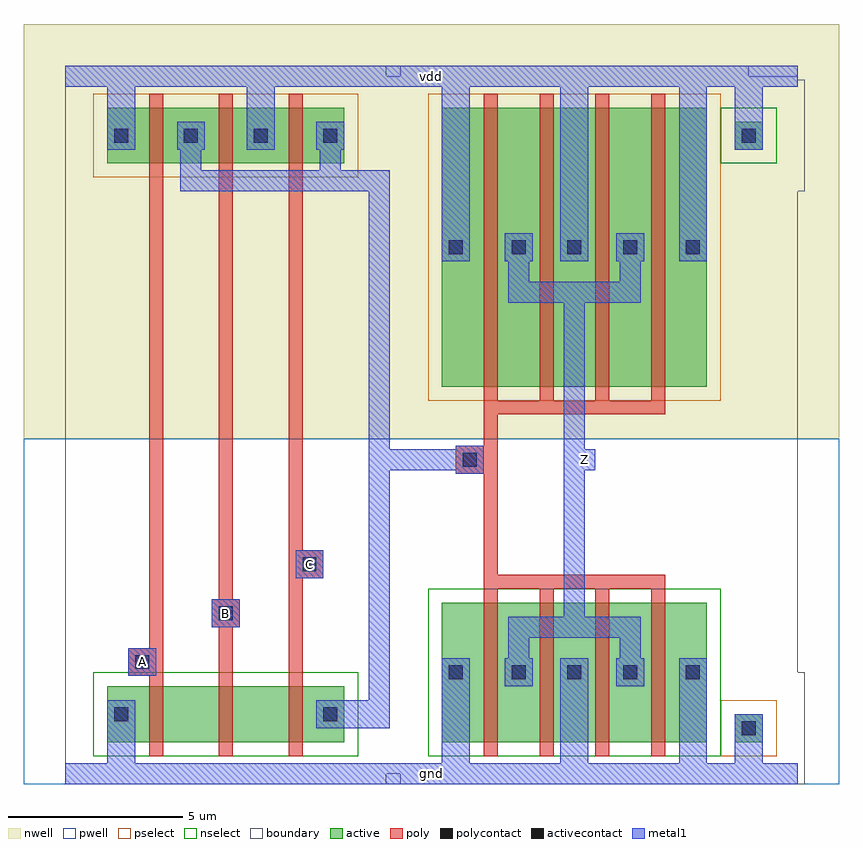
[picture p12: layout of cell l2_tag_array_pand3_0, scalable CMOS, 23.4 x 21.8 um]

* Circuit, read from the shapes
.subckt l2_tag_array_pand3_0 A B C Z gnd vdd
M1 l2_tag_array_pnand3_0_0/l2_tag_array_nmos_m1_w1_600_sm1_dactive_3/D A gnd gnd nfet w=1.6u l=0.4u
M2 l2_tag_array_pnand3_0_0/l2_tag_array_nmos_m1_w1_600_sactive_dactive_4/D B l2_tag_array_pnand3_0_0/l2_tag_array_nmos_m1_w1_600_sm1_dactive_3/D gnd nfet w=1.6u l=0.4u
M3 l2_tag_array_pdriver_3_1/A C l2_tag_array_pnand3_0_0/l2_tag_array_nmos_m1_w1_600_sactive_dactive_4/D gnd nfet w=1.6u l=0.4u
M4 Z l2_tag_array_pdriver_3_1/A gnd gnd nfet w=4u l=0.4u m=4
M5 l2_tag_array_pdriver_3_1/A A vdd vdd pfet w=1.6u l=0.4u
M6 vdd B l2_tag_array_pdriver_3_1/A vdd pfet w=1.6u l=0.4u
M7 l2_tag_array_pdriver_3_1/A C vdd vdd pfet w=1.6u l=0.4u
M8 Z l2_tag_array_pdriver_3_1/A vdd vdd pfet w=8u l=0.4u m=4
.ends

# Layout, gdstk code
import gdstk
lib = gdstk.Library(unit=1e-6, precision=1e-09)
def R(c, l, rs):  # rectangles x0, y0, x1, y1
    for r in rs: c.add(gdstk.rectangle(r[:2], r[2:], *l))
def A(c, l, x, y, w, h, nx, ny, dx, dy):  # array of equal rectangles
    R(c, l, [(x+i*dx, y+j*dy, x+i*dx+w, y+j*dy+h) for i in range(nx) for j in range(ny)])
pwell = (41, 0)
nwell = (42, 0)
active = (43, 0)
pselect = (44, 0)
nselect = (45, 0)
poly = (46, 0)
polycontact = (47, 0)
activecontact = (48, 0)
metal1 = (49, 0)
boundary = (63, 0)

l2_tag_array_contact_11 = lib.new_cell('l2_tag_array_contact_11')
R(l2_tag_array_contact_11, nwell, [(-1.2,-1.2,2,2)])
R(l2_tag_array_contact_11, active, [(0,0,0.8,0.8)])
R(l2_tag_array_contact_11, pselect, [(-0.4,-0.4,1.2,1.2)])
R(l2_tag_array_contact_11, activecontact, [(0.2,0.2,0.6,0.6)])
R(l2_tag_array_contact_11, metal1, [(0,0,0.8,0.8)])
R(l2_tag_array_contact_11, boundary, [(-1.2,-1.2,2,2)])

l2_tag_array_pmos_m1_w1_ = lib.new_cell('l2_tag_array_pmos_m1_w1_600_sm1_dm1')
R(l2_tag_array_pmos_m1_w1_, nwell, [(-1.2,-1.2,4,2.8)])
R(l2_tag_array_pmos_m1_w1_, active, [(0,0,2.8,1.6)])
R(l2_tag_array_pmos_m1_w1_, pselect, [(-0.4,-0.4,3.2,2)])
R(l2_tag_array_pmos_m1_w1_, poly, [(1.2,-0.4,1.6,2), (1.2,-0.4,1.6,2)])
R(l2_tag_array_pmos_m1_w1_, metal1, [(0,0.4,0.8,1.2), (2,0.4,2.8,1.2)])
R(l2_tag_array_pmos_m1_w1_, boundary, [(-1.2,-1.2,4,2.8)])
l2_tag_array_pmos_m1_w1_.add(gdstk.Reference(l2_tag_array_contact_11, (0,0.4)))
l2_tag_array_pmos_m1_w1_.add(gdstk.Reference(l2_tag_array_contact_11, (2,0.4)))
l2_tag_array_pmos_m1_w1_.add(gdstk.Label('G', (1.4,0.8), layer=46, texttype=0))
l2_tag_array_pmos_m1_w1_.add(gdstk.Label('S', (0.4,0.8), layer=49, texttype=0))
l2_tag_array_pmos_m1_w1_.add(gdstk.Label('D', (2.4,0.8), layer=49, texttype=0))

l2_tag_array_contact_10 = lib.new_cell('l2_tag_array_contact_10')
R(l2_tag_array_contact_10, pwell, [(-1.2,-1.2,2,2)])
R(l2_tag_array_contact_10, active, [(0,0,0.8,0.8)])
R(l2_tag_array_contact_10, nselect, [(-0.4,-0.4,1.2,1.2)])
R(l2_tag_array_contact_10, activecontact, [(0.2,0.2,0.6,0.6)])
R(l2_tag_array_contact_10, metal1, [(0,0,0.8,0.8)])
R(l2_tag_array_contact_10, boundary, [(-1.2,-1.2,2,2)])

l2_tag_array_nmos_m1_w1_ = lib.new_cell('l2_tag_array_nmos_m1_w1_600_sm1_dactive')
R(l2_tag_array_nmos_m1_w1_, pwell, [(-1.2,-1.2,4,2.8)])
R(l2_tag_array_nmos_m1_w1_, active, [(0,0,2.8,1.6), (2.1,0.5,2.7,1.1)])
R(l2_tag_array_nmos_m1_w1_, nselect, [(-0.4,-0.4,3.2,2)])
R(l2_tag_array_nmos_m1_w1_, poly, [(1.2,-0.4,1.6,2), (1.2,-0.4,1.6,2)])
R(l2_tag_array_nmos_m1_w1_, metal1, [(0,0.4,0.8,1.2)])
R(l2_tag_array_nmos_m1_w1_, boundary, [(-1.2,-1.2,4,2.8)])
l2_tag_array_nmos_m1_w1_.add(gdstk.Reference(l2_tag_array_contact_10, (0,0.4)))
l2_tag_array_nmos_m1_w1_.add(gdstk.Label('G', (1.4,0.8), layer=46, texttype=0))
l2_tag_array_nmos_m1_w1_.add(gdstk.Label('S', (0.4,0.8), layer=49, texttype=0))
l2_tag_array_nmos_m1_w1_.add(gdstk.Label('D', (2.4,0.8), layer=43, texttype=0))

c_l2_tag_array_nmos_m1_w1_ = lib.new_cell('l2_tag_array_nmos_m1_w1_600_sactive_dactive')
R(c_l2_tag_array_nmos_m1_w1_, pwell, [(-1.2,-1.2,4,2.8)])
R(c_l2_tag_array_nmos_m1_w1_, active, [(0,0,2.8,1.6), (0.1,0.5,0.7,1.1), (2.1,0.5,2.7,1.1)])
R(c_l2_tag_array_nmos_m1_w1_, nselect, [(-0.4,-0.4,3.2,2)])
R(c_l2_tag_array_nmos_m1_w1_, poly, [(1.2,-0.4,1.6,2), (1.2,-0.4,1.6,2)])
R(c_l2_tag_array_nmos_m1_w1_, boundary, [(-1.2,-1.2,4,2.8)])
c_l2_tag_array_nmos_m1_w1_.add(gdstk.Label('G', (1.4,0.8), layer=46, texttype=0))
c_l2_tag_array_nmos_m1_w1_.add(gdstk.Label('S', (0.4,0.8), layer=43, texttype=0))
c_l2_tag_array_nmos_m1_w1_.add(gdstk.Label('D', (2.4,0.8), layer=43, texttype=0))

c_l2_tag_array_nmos_m1_w1__ = lib.new_cell('l2_tag_array_nmos_m1_w1_600_sactive_dm1')
R(c_l2_tag_array_nmos_m1_w1__, pwell, [(-1.2,-1.2,4,2.8)])
R(c_l2_tag_array_nmos_m1_w1__, active, [(0,0,2.8,1.6), (0.1,0.5,0.7,1.1)])
R(c_l2_tag_array_nmos_m1_w1__, nselect, [(-0.4,-0.4,3.2,2)])
R(c_l2_tag_array_nmos_m1_w1__, poly, [(1.2,-0.4,1.6,2), (1.2,-0.4,1.6,2)])
R(c_l2_tag_array_nmos_m1_w1__, metal1, [(2,0.4,2.8,1.2)])
R(c_l2_tag_array_nmos_m1_w1__, boundary, [(-1.2,-1.2,4,2.8)])
c_l2_tag_array_nmos_m1_w1__.add(gdstk.Reference(l2_tag_array_contact_10, (2,0.4)))
c_l2_tag_array_nmos_m1_w1__.add(gdstk.Label('G', (1.4,0.8), layer=46, texttype=0))
c_l2_tag_array_nmos_m1_w1__.add(gdstk.Label('S', (0.4,0.8), layer=43, texttype=0))
c_l2_tag_array_nmos_m1_w1__.add(gdstk.Label('D', (2.4,0.8), layer=49, texttype=0))

l2_tag_array_contact_14 = lib.new_cell('l2_tag_array_contact_14')
R(l2_tag_array_contact_14, poly, [(0,0,0.8,0.8)])
R(l2_tag_array_contact_14, polycontact, [(0.2,0.2,0.6,0.6)])
R(l2_tag_array_contact_14, metal1, [(0,0,0.8,0.8)])
R(l2_tag_array_contact_14, boundary, [(0,0,0.8,0.8)])

l2_tag_array_pnand3_0 = lib.new_cell('l2_tag_array_pnand3_0')
R(l2_tag_array_pnand3_0, pwell, [(-1.2,-0.3,10.8,9.6)])
R(l2_tag_array_pnand3_0, nwell, [(-1.2,9.6,10.8,21.5)])
A(l2_tag_array_pnand3_0, poly, 2.4, 2.9, 0.4, 14.2, 3, 1, 2, 0)
R(l2_tag_array_pnand3_0, poly, [(2.2,2.8,2.4,3.6), (4.4,4.2,4.6,5), (6.4,5.6,7,6.4)])
R(l2_tag_array_pnand3_0, metal1, [(0,-0.3,9.6,0.3), (1.2,-0.3,2,1.3), (7.6,1.3,9,2.1), (8.7,1.3,9.3,17), (1.8,2.8,2.6,3.6), (4.2,4.2,5,5), (6.6,5.6,7.4,6.4), (3.3,16.7,3.9,17.3), (3.6,16.7,9,17.3), (7.3,16.7,7.9,17.3), (7.6,16.7,9,17.3), (8.7,16.7,9.3,17.3), (3.3,17,3.9,18.3), (7.3,17,7.9,18.3), (1.2,17.9,2,20.3), (5.2,17.9,6,20.3), (0,19.7,9.6,20.3)])
R(l2_tag_array_pnand3_0, boundary, [(0,0,9.6,20), (0,0,9.6,20)])
l2_tag_array_pnand3_0.add(gdstk.Reference(l2_tag_array_pmos_m1_w1_, (1.2,17.5)))
l2_tag_array_pnand3_0.add(gdstk.Reference(l2_tag_array_pmos_m1_w1_, (3.2,17.5)))
l2_tag_array_pnand3_0.add(gdstk.Reference(l2_tag_array_pmos_m1_w1_, (5.2,17.5)))
l2_tag_array_pnand3_0.add(gdstk.Reference(l2_tag_array_nmos_m1_w1_, (1.2,0.9)))
l2_tag_array_pnand3_0.add(gdstk.Reference(c_l2_tag_array_nmos_m1_w1_, (3.2,0.9)))
l2_tag_array_pnand3_0.add(gdstk.Reference(c_l2_tag_array_nmos_m1_w1__, (5.2,0.9)))
l2_tag_array_pnand3_0.add(gdstk.Reference(l2_tag_array_contact_14, (1.8,2.8)))
l2_tag_array_pnand3_0.add(gdstk.Reference(l2_tag_array_contact_14, (4.2,4.2)))
l2_tag_array_pnand3_0.add(gdstk.Reference(l2_tag_array_contact_14, (6.6,5.6)))
l2_tag_array_pnand3_0.add(gdstk.Label('A', (2.2,3.2), layer=49, texttype=0))
l2_tag_array_pnand3_0.add(gdstk.Label('B', (4.6,4.6), layer=49, texttype=0))
l2_tag_array_pnand3_0.add(gdstk.Label('C', (7,6), layer=49, texttype=0))
l2_tag_array_pnand3_0.add(gdstk.Label('Z', (9,17), layer=49, texttype=0))
l2_tag_array_pnand3_0.add(gdstk.Label('gnd', (4.8,0), layer=49, texttype=0))
l2_tag_array_pnand3_0.add(gdstk.Label('vdd', (4.8,20), layer=49, texttype=0))

l2_tag_array_pmos_m4_w8_ = lib.new_cell('l2_tag_array_pmos_m4_w8_000_sm1_dm1_da_p')
R(l2_tag_array_pmos_m4_w8_, nwell, [(-1.2,-1.2,8.8,9.2)])
R(l2_tag_array_pmos_m4_w8_, active, [(0,0,7.6,8)])
R(l2_tag_array_pmos_m4_w8_, pselect, [(-0.4,-0.4,8,8.4)])
A(l2_tag_array_pmos_m4_w8_, poly, 1.2, -0.4, 0.4, 8.8, 4, 1, 1.6, 0)
R(l2_tag_array_pmos_m4_w8_, poly, [(1.2,-0.8,6.4,-0.4)])
A(l2_tag_array_pmos_m4_w8_, metal1, 0, 3.6, 0.8, 0.8, 3, 1, 3.4, 0)
R(l2_tag_array_pmos_m4_w8_, metal1, [(1.9,2.4,5.7,3), (1.9,2.7,2.5,4), (5.1,2.7,5.7,4)])
R(l2_tag_array_pmos_m4_w8_, boundary, [(-1.2,-1.2,8.8,9.2)])
l2_tag_array_pmos_m4_w8_.add(gdstk.Reference(l2_tag_array_contact_11, (0,3.6)))
l2_tag_array_pmos_m4_w8_.add(gdstk.Reference(l2_tag_array_contact_11, (1.8,3.6)))
l2_tag_array_pmos_m4_w8_.add(gdstk.Reference(l2_tag_array_contact_11, (3.4,3.6)))
l2_tag_array_pmos_m4_w8_.add(gdstk.Reference(l2_tag_array_contact_11, (5,3.6)))
l2_tag_array_pmos_m4_w8_.add(gdstk.Reference(l2_tag_array_contact_11, (6.8,3.6)))
l2_tag_array_pmos_m4_w8_.add(gdstk.Label('G', (3.8,-0.6), layer=46, texttype=0))
l2_tag_array_pmos_m4_w8_.add(gdstk.Label('S', (3.8,4), layer=49, texttype=0))
l2_tag_array_pmos_m4_w8_.add(gdstk.Label('S', (7.2,4), layer=49, texttype=0))
l2_tag_array_pmos_m4_w8_.add(gdstk.Label('S', (0.4,4), layer=49, texttype=0))
l2_tag_array_pmos_m4_w8_.add(gdstk.Label('D', (3.8,2.7), layer=49, texttype=0))

l2_tag_array_nmos_m4_w4_ = lib.new_cell('l2_tag_array_nmos_m4_w4_000_sm1_dm1_da_p')
R(l2_tag_array_nmos_m4_w4_, pwell, [(-1.2,-1.2,8.8,5.2)])
R(l2_tag_array_nmos_m4_w4_, active, [(0,0,7.6,4)])
R(l2_tag_array_nmos_m4_w4_, nselect, [(-0.4,-0.4,8,4.4)])
A(l2_tag_array_nmos_m4_w4_, poly, 1.2, -0.4, 0.4, 4.8, 4, 1, 1.6, 0)
R(l2_tag_array_nmos_m4_w4_, poly, [(1.2,4.4,6.4,4.8)])
A(l2_tag_array_nmos_m4_w4_, metal1, 0, 1.6, 0.8, 0.8, 3, 1, 3.4, 0)
R(l2_tag_array_nmos_m4_w4_, metal1, [(1.9,2,2.5,3.3), (5.1,2,5.7,3.3), (1.9,3,5.7,3.6)])
R(l2_tag_array_nmos_m4_w4_, boundary, [(-1.2,-1.2,8.8,5.2)])
l2_tag_array_nmos_m4_w4_.add(gdstk.Reference(l2_tag_array_contact_10, (0,1.6)))
l2_tag_array_nmos_m4_w4_.add(gdstk.Reference(l2_tag_array_contact_10, (1.8,1.6)))
l2_tag_array_nmos_m4_w4_.add(gdstk.Reference(l2_tag_array_contact_10, (3.4,1.6)))
l2_tag_array_nmos_m4_w4_.add(gdstk.Reference(l2_tag_array_contact_10, (5,1.6)))
l2_tag_array_nmos_m4_w4_.add(gdstk.Reference(l2_tag_array_contact_10, (6.8,1.6)))
l2_tag_array_nmos_m4_w4_.add(gdstk.Label('G', (3.8,4.6), layer=46, texttype=0))
l2_tag_array_nmos_m4_w4_.add(gdstk.Label('S', (0.4,2), layer=49, texttype=0))
l2_tag_array_nmos_m4_w4_.add(gdstk.Label('S', (7.2,2), layer=49, texttype=0))
l2_tag_array_nmos_m4_w4_.add(gdstk.Label('S', (3.8,2), layer=49, texttype=0))
l2_tag_array_nmos_m4_w4_.add(gdstk.Label('D', (3.8,3.3), layer=49, texttype=0))

l2_tag_array_contact_12 = lib.new_cell('l2_tag_array_contact_12')
R(l2_tag_array_contact_12, nwell, [(-1.2,-1.2,2,2)])
R(l2_tag_array_contact_12, active, [(0,0,0.8,0.8)])
R(l2_tag_array_contact_12, nselect, [(-0.4,-0.4,1.2,1.2)])
R(l2_tag_array_contact_12, activecontact, [(0.2,0.2,0.6,0.6)])
R(l2_tag_array_contact_12, metal1, [(0,0,0.8,0.8)])
R(l2_tag_array_contact_12, boundary, [(-1.2,-1.2,2,2)])

l2_tag_array_contact_13 = lib.new_cell('l2_tag_array_contact_13')
R(l2_tag_array_contact_13, pwell, [(-1.2,-1.2,2,2)])
R(l2_tag_array_contact_13, active, [(0,0,0.8,0.8)])
R(l2_tag_array_contact_13, pselect, [(-0.4,-0.4,1.2,1.2)])
R(l2_tag_array_contact_13, activecontact, [(0.2,0.2,0.6,0.6)])
R(l2_tag_array_contact_13, metal1, [(0,0,0.8,0.8)])
R(l2_tag_array_contact_13, boundary, [(-1.2,-1.2,2,2)])

l2_tag_array_pinv_13 = lib.new_cell('l2_tag_array_pinv_13')
R(l2_tag_array_pinv_13, pwell, [(-1.2,-0.3,12.6,9.6)])
R(l2_tag_array_pinv_13, nwell, [(-1.2,9.6,12.6,21.5)])
R(l2_tag_array_pinv_13, poly, [(2.4,5.7,2.8,10.3), (2,8.6,2.4,9.4)])
A(l2_tag_array_pinv_13, metal1, 1.2, -0.3, 0.8, 2.8, 3, 1, 3.4, 0)
A(l2_tag_array_pinv_13, metal1, 1.2, 14.7, 0.8, 5.6, 3, 1, 3.4, 0)
R(l2_tag_array_pinv_13, metal1, [(0,-0.3,11.4,0.3), (9.6,0,10.4,1.3), (4.7,3.9,5.3,14.1), (1.6,8.6,2.4,9.4), (5,8.7,5.6,9.3), (9.6,18.3,10.4,20), (0,19.7,11.4,20.3)])
R(l2_tag_array_pinv_13, boundary, [(0,0,11.4,20), (0,0,11.4,20)])
l2_tag_array_pinv_13.add(gdstk.Reference(l2_tag_array_pmos_m4_w8_, (1.2,11.1)))
l2_tag_array_pinv_13.add(gdstk.Reference(l2_tag_array_nmos_m4_w4_, (1.2,0.9)))
l2_tag_array_pinv_13.add(gdstk.Reference(l2_tag_array_contact_12, (9.6,17.9)))
l2_tag_array_pinv_13.add(gdstk.Reference(l2_tag_array_contact_13, (9.6,0.9)))
l2_tag_array_pinv_13.add(gdstk.Reference(l2_tag_array_contact_14, (1.6,8.6)))
l2_tag_array_pinv_13.add(gdstk.Label('A', (2,9), layer=49, texttype=0))
l2_tag_array_pinv_13.add(gdstk.Label('Z', (5.3,9), layer=49, texttype=0))
l2_tag_array_pinv_13.add(gdstk.Label('gnd', (5.7,0), layer=49, texttype=0))
l2_tag_array_pinv_13.add(gdstk.Label('vdd', (5.7,20), layer=49, texttype=0))

l2_tag_array_pdriver_3 = lib.new_cell('l2_tag_array_pdriver_3')
R(l2_tag_array_pdriver_3, pwell, [(-1.2,-0.3,12.6,9.6)])
R(l2_tag_array_pdriver_3, nwell, [(-1.2,9.6,12.6,21.5)])
R(l2_tag_array_pdriver_3, metal1, [(0,-0.3,11.4,0.3), (1.6,8.6,2.4,9.4), (5,8.7,5.6,9.3), (0,19.7,11.4,20.3)])
R(l2_tag_array_pdriver_3, boundary, [(0,0,11.4,20), (0,0,11.4,20)])
l2_tag_array_pdriver_3.add(gdstk.Reference(l2_tag_array_pinv_13, (0,0)))
l2_tag_array_pdriver_3.add(gdstk.Label('Z', (5.3,9), layer=49, texttype=0))
l2_tag_array_pdriver_3.add(gdstk.Label('A', (2,9), layer=49, texttype=0))
l2_tag_array_pdriver_3.add(gdstk.Label('gnd', (5.7,0), layer=49, texttype=0))
l2_tag_array_pdriver_3.add(gdstk.Label('vdd', (5.7,20), layer=49, texttype=0))

l2_tag_array_pand3_0 = lib.new_cell('l2_tag_array_pand3_0')
R(l2_tag_array_pand3_0, metal1, [(0,-0.3,21,0.3), (1.8,2.8,2.6,3.6), (4.2,4.2,5,5), (6.6,5.6,7.4,6.4), (8.7,8.7,9.3,9.3), (9,8.7,11.6,9.3), (14.6,8.7,15.2,9.3), (8.7,9,9.3,17), (0,19.7,21,20.3)])
R(l2_tag_array_pand3_0, boundary, [(0,0,21,20), (0,0,21,20)])
l2_tag_array_pand3_0.add(gdstk.Reference(l2_tag_array_pnand3_0, (0,0)))
l2_tag_array_pand3_0.add(gdstk.Reference(l2_tag_array_pdriver_3, (9.6,0)))
l2_tag_array_pand3_0.add(gdstk.Label('Z', (14.9,9), layer=49, texttype=0))
l2_tag_array_pand3_0.add(gdstk.Label('A', (2.2,3.2), layer=49, texttype=0))
l2_tag_array_pand3_0.add(gdstk.Label('B', (4.6,4.6), layer=49, texttype=0))
l2_tag_array_pand3_0.add(gdstk.Label('C', (7,6), layer=49, texttype=0))
l2_tag_array_pand3_0.add(gdstk.Label('gnd', (10.5,0), layer=49, texttype=0))
l2_tag_array_pand3_0.add(gdstk.Label('vdd', (10.5,20), layer=49, texttype=0))

lib.write_gds('l2_tag_array_pand3_0.gds')
